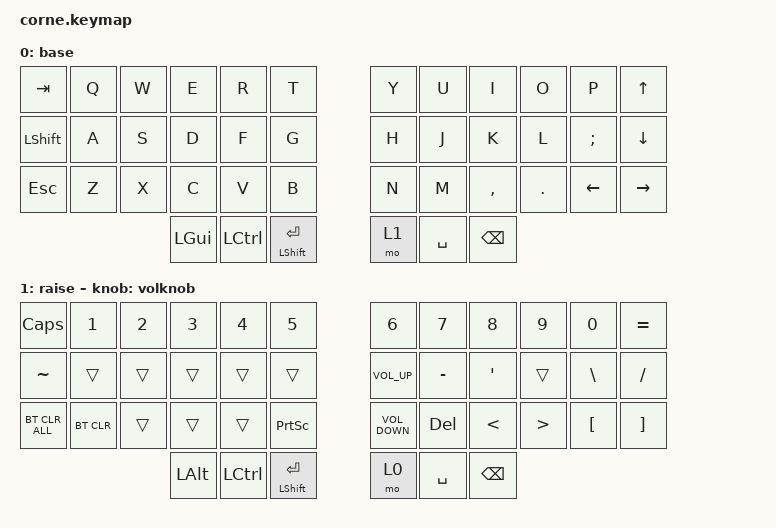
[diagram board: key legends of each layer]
#include <behaviors.dtsi>
#include <dt-bindings/zmk/bt.h>
#include <dt-bindings/zmk/keys.h>
#include <dt-bindings/zmk/rgb.h>

// dt-formatter: indent = "  "
// dt-formatter: multilineIntegerCellsIndent = "reindent"
// dt-formatter: multilineListCommaStyle = "leading"

&sk { /delete-property/ ignore-modifiers; };

/ {
  combos {
    compatible = "zmk,combos";

    tab {
      key-positions = <2 3>;
      bindings = <&kp TAB>;
    };

    ctrl {
      key-positions = <26 27>;
      bindings = <&kp LCTRL>;
    };

    cmd {
      key-positions = <37 38>;
      bindings = <&kp LCMD>;
    };

    alt {
      key-positions = <39 40>;
      bindings = <&kp LEFT_ALT>;
    };

    shift {
      key-positions = <8 9>;
      bindings = <&kp LSHIFT>;
    };

    caps_word {
      key-positions = <17 18>;
      bindings = <&caps_word>;
    };

    delete {
      key-positions = <32 33>;
      bindings = <&kp DEL>;
    };
  };

  macros {
    greeting: greeting {
      compatible = "zmk,behavior-macro";
      #binding-cells = <0>;
      label = "greeting";
      bindings = <&kp H &kp E &kp L &kp L &kp O>;
    };

    rgblayer: rgb_layer {
      compatible = "zmk,behavior-macro-two-param";
      #binding-cells = <2>;
      label = "MOMENTARY_LAYER_WITH_RGB_COLOR";
      bindings
        = <&macro_param_2to2 &rgb_ug RGB_COLOR_HSB_CMD MACRO_PLACEHOLDER &macro_param_1to1>
        , <&macro_press>
        , <&mo MACRO_PLACEHOLDER>
        , <&macro_pause_for_release>
        , <&macro_release>
        , <&macro_param_1to1 &mo MACRO_PLACEHOLDER>
        , <&macro_tap>
        , <&rgb_ug RGB_TOG>
        ;
    };

    shift: with_lshift {
      compatible = "zmk,behavior-macro-one-param";
      #binding-cells = <1>;
      label = "KEY_PRESS_WITH_LEFT_SHIFT_MODIFIER";
      bindings
        = <&macro_press>
        , <&kp LSHFT>
        , <&macro_tap>
        , <&macro_param_1to1 &kp MACRO_PLACEHOLDER>
        , <&macro_release>
        , <&kp LSHFT>
        ;
    };

    as: autoshift {
      compatible = "zmk,behavior-macro-one-param";
      #binding-cells = <1>;
      label = "AUTOSHIFT_KEYPRESS";
      bindings
        = <&macro_press>
        , <&macro_param_1to1 &macro_param_1to2 &as_ht MACRO_PLACEHOLDER MACRO_PLACEHOLDER>
        , <&macro_pause_for_release>
        , <&macro_release>
        , <&macro_param_1to1 &macro_param_1to2 &as_ht MACRO_PLACEHOLDER MACRO_PLACEHOLDER>
        ;
    };
  };

  behaviors {
    as_ht: autoshift_hold_tap {
      compatible = "zmk,behavior-hold-tap";
      #binding-cells = <2>;
      label = "AUTOSHIFT_HOLD_TAP";
      bindings = <&shift>, <&kp>;

      tapping-term-ms = <190>;
    };

    hml: homewrow_mods_left {
      compatible = "zmk,behavior-hold-tap";
      #binding-cells = <2>;
      label = "HOMEROW_MODS_LEFT_HAND";
      bindings = <&kp>, <&kp>;

      tapping-term-ms = <200>;
      hold-trigger-key-positions = <6 7 8 9 10 11 18 19 20 21 22 23 30 31 32 33 34 35 39 40 41>;
    };

    hmr: homewrow_mods_right {
      compatible = "zmk,behavior-hold-tap";
      #binding-cells = <2>;
      label = "HOMEROW_MODS_RIGHT_HAND";
      bindings = <&kp>, <&kp>;

      tapping-term-ms = <200>;
      hold-trigger-key-positions = <0 1 2 3 4 5 12 13 14 15 16 17 24 25 26 27 28 29 36 37 38>;
    };

    capdance: capdance {
      compatible = "zmk,behavior-tap-dance";
      label = "CAPDANCE";
      #binding-cells = <0>;
      bindings = <&caps_word>, <&kp CAPS>;
    };

    volknob: volume_encoder {
      compatible = "zmk,behavior-sensor-rotate";
      label = "ENCODER_VOLUME_KNOB";
      #sensor-binding-cells = <0>;
      bindings = <&kp C_VOL_UP>, <&kp C_VOL_DN>;
    };

    rgbknob: rgb_encoder {
      compatible = "zmk,behavior-sensor-rotate-var";
      label = "ENCODER_RGB";
      #sensor-binding-cells = <2>;
      bindings = <&rgb_ug>, <&rgb_ug>;
    };
  };

  conditional_layers {
    compatible = "zmk,conditional-layers";

    tri_layer {
      if-layers = <1 2>;
      then-layer = <3>;
    };
  };

  keymap {
    compatible = "zmk,keymap";

    base {
      bindings = <
        &kp TAB         &kp Q  &kp W  &kp E     &kp R      &kp T                   &kp Y  &kp U      &kp I          &kp O    &kp P           &kp UP_ARROW
        &kp LEFT_SHIFT  &kp A  &kp S  &kp D     &kp F      &kp G                   &kp H  &kp J      &kp K          &kp L    &kp SEMI        &kp DOWN_ARROW
        &kp ESC         &kp Z  &kp X  &kp C     &kp V      &kp B                   &kp N  &kp M      &kp COMMA      &kp DOT  &kp LEFT_ARROW  &kp RIGHT_ARROW
                                      &kp LGUI  &kp LCTRL  &mt LEFT_SHIFT ENTER    &mo 1  &kp SPACE  &kp BACKSPACE
      >;
    };

    raise {
      bindings = <
        &kp CAPS        &kp N1      &kp N2  &kp N3        &kp N4     &kp N5                  &kp N6             &kp N7     &kp N8         &kp N9            &kp N0            &kp EQUAL
        &kp TILDE       &trans      &trans  &trans        &trans     &trans                  &kp C_VOLUME_UP    &kp MINUS  &kp APOS       &trans            &kp BACKSLASH     &kp SLASH
        &bt BT_CLR_ALL  &bt BT_CLR  &trans  &trans        &trans     &kp PRINTSCREEN         &kp C_VOLUME_DOWN  &kp DEL    &kp LESS_THAN  &kp GREATER_THAN  &kp LEFT_BRACKET  &kp RIGHT_BRACKET
                                            &kp LEFT_ALT  &kp LCTRL  &mt LEFT_SHIFT ENTER    &mo 0              &kp SPACE  &kp BACKSPACE
      >;

      sensor-bindings = <&volknob>;
    };
  };
};
